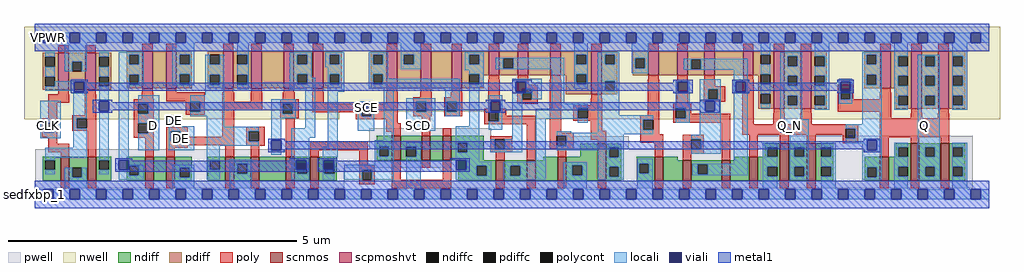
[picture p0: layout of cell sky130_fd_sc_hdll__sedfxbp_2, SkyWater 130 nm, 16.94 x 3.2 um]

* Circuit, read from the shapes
.subckt sky130_fd_sc_hdll__sedfxbp_2 CLK D DE SCD SCE VGND VNB VPB VPWR Q Q_N
XM1 VGND CLK n1 VNB sky130_fd_pr__nfet_01v8 w=0.42 l=0.15
XM2 n2 n1 VGND VNB sky130_fd_pr__nfet_01v8 w=0.42 l=0.15
XM3 n3 D n4 VNB sky130_fd_pr__nfet_01v8 w=0.42 l=0.15
XM4 VGND DE n3 VNB sky130_fd_pr__nfet_01v8 w=0.42 l=0.15
XM5 VGND DE n5 VNB sky130_fd_pr__nfet_01v8 w=0.42 l=0.15
XM6 n6 n5 VGND VNB sky130_fd_pr__nfet_01v8 w=0.42 l=0.15
XM7 n4 n7 n6 VNB sky130_fd_pr__nfet_01v8 w=0.42 l=0.15
XM8 n8 n9 n4 VNB sky130_fd_pr__nfet_01v8 w=0.42 l=0.15
XM9 VGND SCE n9 VNB sky130_fd_pr__nfet_01v8 w=0.42 l=0.15
XM10 n10 SCD VGND VNB sky130_fd_pr__nfet_01v8 w=0.42 l=0.15
XM11 n8 SCE n10 VNB sky130_fd_pr__nfet_01v8 w=0.42 l=0.15
XM12 n11 n1 n8 VNB sky130_fd_pr__nfet_01v8 w=0.36 l=0.15
XM13 n12 n2 n11 VNB sky130_fd_pr__nfet_01v8 w=0.36 l=0.15
XM14 VGND n13 n12 VNB sky130_fd_pr__nfet_01v8 w=0.42 l=0.15
XM15 n13 n11 VGND VNB sky130_fd_pr__nfet_01v8 w=0.64 l=0.15
XM16 n14 n13 VGND VNB sky130_fd_pr__nfet_01v8 w=0.42 l=0.15
XM17 n15 n2 n14 VNB sky130_fd_pr__nfet_01v8 w=0.36 l=0.15
XM18 n16 n1 n15 VNB sky130_fd_pr__nfet_01v8 w=0.36 l=0.15
XM19 VGND n7 n16 VNB sky130_fd_pr__nfet_01v8 w=0.42 l=0.15
XM20 Q_N n7 VGND VNB sky130_fd_pr__nfet_01v8 w=0.65 l=0.15 m=2
XM21 VGND n15 n7 VNB sky130_fd_pr__nfet_01v8 w=0.42 l=0.15
XM22 Q n15 VGND VNB sky130_fd_pr__nfet_01v8 w=0.65 l=0.15 m=2
XM23 VPWR CLK n1 VPB sky130_fd_pr__pfet_01v8_hvt w=0.64 l=0.18
XM24 n2 n1 VPWR VPB sky130_fd_pr__pfet_01v8_hvt w=0.64 l=0.18
XM25 n17 D n4 VPB sky130_fd_pr__pfet_01v8_hvt w=0.64 l=0.18
XM26 VPWR n5 n17 VPB sky130_fd_pr__pfet_01v8_hvt w=0.64 l=0.18
XM27 VPWR DE n5 VPB sky130_fd_pr__pfet_01v8_hvt w=0.64 l=0.18
XM28 n18 DE VPWR VPB sky130_fd_pr__pfet_01v8_hvt w=0.64 l=0.18
XM29 n4 n7 n18 VPB sky130_fd_pr__pfet_01v8_hvt w=0.64 l=0.18
XM30 n8 SCE n4 VPB sky130_fd_pr__pfet_01v8_hvt w=0.64 l=0.18
XM31 VPWR SCE n9 VPB sky130_fd_pr__pfet_01v8_hvt w=0.64 l=0.18
XM32 n19 SCD VPWR VPB sky130_fd_pr__pfet_01v8_hvt w=0.64 l=0.18
XM33 n8 n9 n19 VPB sky130_fd_pr__pfet_01v8_hvt w=0.64 l=0.18
XM34 n11 n2 n8 VPB sky130_fd_pr__pfet_01v8_hvt w=0.42 l=0.18
XM35 n20 n1 n11 VPB sky130_fd_pr__pfet_01v8_hvt w=0.42 l=0.18
XM36 VPWR n13 n20 VPB sky130_fd_pr__pfet_01v8_hvt w=0.42 l=0.18
XM37 n13 n11 VPWR VPB sky130_fd_pr__pfet_01v8_hvt w=0.75 l=0.18
XM38 n21 n13 VPWR VPB sky130_fd_pr__pfet_01v8_hvt w=0.42 l=0.18
XM39 n15 n1 n21 VPB sky130_fd_pr__pfet_01v8_hvt w=0.42 l=0.18
XM40 n22 n2 n15 VPB sky130_fd_pr__pfet_01v8_hvt w=0.42 l=0.18
XM41 VPWR n7 n22 VPB sky130_fd_pr__pfet_01v8_hvt w=0.42 l=0.18
XM42 Q_N n7 VPWR VPB sky130_fd_pr__pfet_01v8_hvt w=1 l=0.18 m=2
XM43 VPWR n15 n7 VPB sky130_fd_pr__pfet_01v8_hvt w=0.64 l=0.18
XM44 Q n15 VPWR VPB sky130_fd_pr__pfet_01v8_hvt w=1 l=0.18 m=2
.ends

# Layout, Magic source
magic
tech sky130A
magscale 1 2
<< nwell >>
rect -38 287 3350 582
rect -38 261 1057 287
rect 1597 261 3350 287
<< pwell >>
rect 1161 157 1584 229
rect 1867 157 2061 201
rect 2508 157 3256 203
rect 1 93 3256 157
rect 1 21 1073 93
rect 1444 21 3256 93
rect 29 -17 63 21
<< scnmos >>
rect 89 47 119 131
rect 183 47 213 131
rect 383 47 413 131
rect 455 47 485 131
rect 661 47 691 131
rect 749 47 779 131
rect 871 47 901 131
rect 955 47 985 131
rect 1239 119 1269 203
rect 1343 119 1373 203
rect 1415 119 1445 203
rect 1600 47 1630 119
rect 1708 47 1738 119
rect 1814 47 1844 131
rect 1953 47 1983 175
rect 2151 47 2181 131
rect 2248 47 2278 119
rect 2384 47 2414 119
rect 2479 47 2509 131
rect 2586 47 2616 177
rect 2680 47 2710 177
rect 2933 47 2963 131
rect 3040 47 3070 177
rect 3144 47 3174 177
<< scpmoshvt >>
rect 81 363 117 491
rect 175 363 211 491
rect 373 369 409 497
rect 455 369 491 497
rect 653 369 689 497
rect 751 369 787 497
rect 863 369 899 497
rect 965 369 1001 497
rect 1221 369 1257 497
rect 1340 369 1376 497
rect 1446 369 1482 497
rect 1575 413 1611 497
rect 1676 413 1712 497
rect 1789 413 1825 497
rect 1931 347 1967 497
rect 2129 413 2165 497
rect 2230 413 2266 497
rect 2324 413 2360 497
rect 2458 413 2494 497
rect 2565 297 2601 497
rect 2659 297 2695 497
rect 2935 369 2971 497
rect 3042 297 3078 497
rect 3136 297 3172 497
<< ndiff >>
rect 27 119 89 131
rect 27 85 35 119
rect 69 85 89 119
rect 27 47 89 85
rect 119 93 183 131
rect 119 59 129 93
rect 163 59 183 93
rect 119 47 183 59
rect 213 119 265 131
rect 213 85 223 119
rect 257 85 265 119
rect 213 47 265 85
rect 319 100 383 131
rect 319 66 327 100
rect 361 66 383 100
rect 319 47 383 66
rect 413 47 455 131
rect 485 93 545 131
rect 485 59 503 93
rect 537 59 545 93
rect 485 47 545 59
rect 599 119 661 131
rect 599 85 607 119
rect 641 85 661 119
rect 599 47 661 85
rect 691 106 749 131
rect 691 72 703 106
rect 737 72 749 106
rect 691 47 749 72
rect 779 47 871 131
rect 901 106 955 131
rect 901 72 911 106
rect 945 72 955 106
rect 901 47 955 72
rect 985 106 1047 131
rect 985 72 1005 106
rect 1039 72 1047 106
rect 985 47 1047 72
rect 1187 167 1239 203
rect 1187 133 1195 167
rect 1229 133 1239 167
rect 1187 119 1239 133
rect 1269 165 1343 203
rect 1269 131 1289 165
rect 1323 131 1343 165
rect 1269 119 1343 131
rect 1373 119 1415 203
rect 1445 180 1558 203
rect 1445 146 1467 180
rect 1501 146 1558 180
rect 1445 119 1558 146
rect 1893 131 1953 175
rect 1764 119 1814 131
rect 1470 99 1600 119
rect 1470 65 1534 99
rect 1568 65 1600 99
rect 1470 47 1600 65
rect 1630 99 1708 119
rect 1630 65 1650 99
rect 1684 65 1708 99
rect 1630 47 1708 65
rect 1738 47 1814 119
rect 1844 101 1953 131
rect 1844 67 1865 101
rect 1899 67 1953 101
rect 1844 47 1953 67
rect 1983 163 2035 175
rect 1983 129 1993 163
rect 2027 129 2035 163
rect 1983 95 2035 129
rect 1983 61 1993 95
rect 2027 61 2035 95
rect 1983 47 2035 61
rect 2089 107 2151 131
rect 2089 73 2097 107
rect 2131 73 2151 107
rect 2089 47 2151 73
rect 2181 119 2231 131
rect 2534 164 2586 177
rect 2534 131 2542 164
rect 2429 119 2479 131
rect 2181 47 2248 119
rect 2278 104 2384 119
rect 2278 70 2301 104
rect 2335 70 2384 104
rect 2278 47 2384 70
rect 2414 47 2479 119
rect 2509 130 2542 131
rect 2576 130 2586 164
rect 2509 96 2586 130
rect 2509 62 2542 96
rect 2576 62 2586 96
rect 2509 47 2586 62
rect 2616 164 2680 177
rect 2616 130 2636 164
rect 2670 130 2680 164
rect 2616 96 2680 130
rect 2616 62 2636 96
rect 2670 62 2680 96
rect 2616 47 2680 62
rect 2710 164 2772 177
rect 2710 130 2730 164
rect 2764 130 2772 164
rect 2988 164 3040 177
rect 2988 131 2996 164
rect 2710 96 2772 130
rect 2710 62 2730 96
rect 2764 62 2772 96
rect 2710 47 2772 62
rect 2881 94 2933 131
rect 2881 60 2889 94
rect 2923 60 2933 94
rect 2881 47 2933 60
rect 2963 130 2996 131
rect 3030 130 3040 164
rect 2963 96 3040 130
rect 2963 62 2996 96
rect 3030 62 3040 96
rect 2963 47 3040 62
rect 3070 164 3144 177
rect 3070 130 3090 164
rect 3124 130 3144 164
rect 3070 96 3144 130
rect 3070 62 3090 96
rect 3124 62 3144 96
rect 3070 47 3144 62
rect 3174 164 3230 177
rect 3174 130 3186 164
rect 3220 130 3230 164
rect 3174 96 3230 130
rect 3174 62 3186 96
rect 3220 62 3230 96
rect 3174 47 3230 62
<< pdiff >>
rect 27 477 81 491
rect 27 443 35 477
rect 69 443 81 477
rect 27 409 81 443
rect 27 375 35 409
rect 69 375 81 409
rect 27 363 81 375
rect 117 461 175 491
rect 117 427 129 461
rect 163 427 175 461
rect 117 363 175 427
rect 211 477 265 491
rect 211 443 223 477
rect 257 443 265 477
rect 211 409 265 443
rect 211 375 223 409
rect 257 375 265 409
rect 211 363 265 375
rect 319 485 373 497
rect 319 451 327 485
rect 361 451 373 485
rect 319 415 373 451
rect 319 381 327 415
rect 361 381 373 415
rect 319 369 373 381
rect 409 369 455 497
rect 491 485 545 497
rect 491 451 503 485
rect 537 451 545 485
rect 491 417 545 451
rect 491 383 503 417
rect 537 383 545 417
rect 491 369 545 383
rect 599 485 653 497
rect 599 451 607 485
rect 641 451 653 485
rect 599 415 653 451
rect 599 381 607 415
rect 641 381 653 415
rect 599 369 653 381
rect 689 485 751 497
rect 689 451 703 485
rect 737 451 751 485
rect 689 415 751 451
rect 689 381 703 415
rect 737 381 751 415
rect 689 369 751 381
rect 787 369 863 497
rect 899 485 965 497
rect 899 451 911 485
rect 945 451 965 485
rect 899 417 965 451
rect 899 383 911 417
rect 945 383 965 417
rect 899 369 965 383
rect 1001 485 1065 497
rect 1001 451 1023 485
rect 1057 451 1065 485
rect 1001 417 1065 451
rect 1001 383 1023 417
rect 1057 383 1065 417
rect 1001 369 1065 383
rect 1166 485 1221 497
rect 1166 451 1174 485
rect 1208 451 1221 485
rect 1166 417 1221 451
rect 1166 383 1174 417
rect 1208 383 1221 417
rect 1166 369 1221 383
rect 1257 485 1340 497
rect 1257 451 1281 485
rect 1315 451 1340 485
rect 1257 369 1340 451
rect 1376 369 1446 497
rect 1482 485 1575 497
rect 1482 451 1508 485
rect 1542 451 1575 485
rect 1482 417 1575 451
rect 1482 383 1508 417
rect 1542 413 1575 417
rect 1611 472 1676 497
rect 1611 438 1626 472
rect 1660 438 1676 472
rect 1611 413 1676 438
rect 1712 413 1789 497
rect 1825 485 1931 497
rect 1825 451 1879 485
rect 1913 451 1931 485
rect 1825 417 1931 451
rect 1825 413 1879 417
rect 1542 383 1558 413
rect 1482 369 1558 383
rect 1842 383 1879 413
rect 1913 383 1931 417
rect 1842 347 1931 383
rect 1967 485 2021 497
rect 1967 451 1979 485
rect 2013 451 2021 485
rect 1967 393 2021 451
rect 2075 472 2129 497
rect 2075 438 2083 472
rect 2117 438 2129 472
rect 2075 413 2129 438
rect 2165 413 2230 497
rect 2266 469 2324 497
rect 2266 435 2278 469
rect 2312 435 2324 469
rect 2266 413 2324 435
rect 2360 413 2458 497
rect 2494 485 2565 497
rect 2494 451 2519 485
rect 2553 451 2565 485
rect 2494 417 2565 451
rect 2494 413 2519 417
rect 1967 359 1979 393
rect 2013 359 2021 393
rect 1967 347 2021 359
rect 2511 383 2519 413
rect 2553 383 2565 417
rect 2511 349 2565 383
rect 2511 315 2519 349
rect 2553 315 2565 349
rect 2511 297 2565 315
rect 2601 479 2659 497
rect 2601 445 2613 479
rect 2647 445 2659 479
rect 2601 411 2659 445
rect 2601 377 2613 411
rect 2647 377 2659 411
rect 2601 343 2659 377
rect 2601 309 2613 343
rect 2647 309 2659 343
rect 2601 297 2659 309
rect 2695 479 2749 497
rect 2695 445 2707 479
rect 2741 445 2749 479
rect 2695 411 2749 445
rect 2695 377 2707 411
rect 2741 377 2749 411
rect 2879 485 2935 497
rect 2879 451 2887 485
rect 2921 451 2935 485
rect 2879 415 2935 451
rect 2879 381 2887 415
rect 2921 381 2935 415
rect 2695 343 2749 377
rect 2695 309 2707 343
rect 2741 309 2749 343
rect 2695 297 2749 309
rect 2879 369 2935 381
rect 2971 479 3042 497
rect 2971 445 2996 479
rect 3030 445 3042 479
rect 2971 411 3042 445
rect 2971 377 2996 411
rect 3030 377 3042 411
rect 2971 369 3042 377
rect 2988 343 3042 369
rect 2988 309 2996 343
rect 3030 309 3042 343
rect 2988 297 3042 309
rect 3078 479 3136 497
rect 3078 445 3090 479
rect 3124 445 3136 479
rect 3078 411 3136 445
rect 3078 377 3090 411
rect 3124 377 3136 411
rect 3078 343 3136 377
rect 3078 309 3090 343
rect 3124 309 3136 343
rect 3078 297 3136 309
rect 3172 479 3230 497
rect 3172 445 3186 479
rect 3220 445 3230 479
rect 3172 411 3230 445
rect 3172 377 3186 411
rect 3220 377 3230 411
rect 3172 343 3230 377
rect 3172 309 3186 343
rect 3220 309 3230 343
rect 3172 297 3230 309
<< ndiffc >>
rect 35 85 69 119
rect 129 59 163 93
rect 223 85 257 119
rect 327 66 361 100
rect 503 59 537 93
rect 607 85 641 119
rect 703 72 737 106
rect 911 72 945 106
rect 1005 72 1039 106
rect 1195 133 1229 167
rect 1289 131 1323 165
rect 1467 146 1501 180
rect 1534 65 1568 99
rect 1650 65 1684 99
rect 1865 67 1899 101
rect 1993 129 2027 163
rect 1993 61 2027 95
rect 2097 73 2131 107
rect 2301 70 2335 104
rect 2542 130 2576 164
rect 2542 62 2576 96
rect 2636 130 2670 164
rect 2636 62 2670 96
rect 2730 130 2764 164
rect 2730 62 2764 96
rect 2889 60 2923 94
rect 2996 130 3030 164
rect 2996 62 3030 96
rect 3090 130 3124 164
rect 3090 62 3124 96
rect 3186 130 3220 164
rect 3186 62 3220 96
<< pdiffc >>
rect 35 443 69 477
rect 35 375 69 409
rect 129 427 163 461
rect 223 443 257 477
rect 223 375 257 409
rect 327 451 361 485
rect 327 381 361 415
rect 503 451 537 485
rect 503 383 537 417
rect 607 451 641 485
rect 607 381 641 415
rect 703 451 737 485
rect 703 381 737 415
rect 911 451 945 485
rect 911 383 945 417
rect 1023 451 1057 485
rect 1023 383 1057 417
rect 1174 451 1208 485
rect 1174 383 1208 417
rect 1281 451 1315 485
rect 1508 451 1542 485
rect 1508 383 1542 417
rect 1626 438 1660 472
rect 1879 451 1913 485
rect 1879 383 1913 417
rect 1979 451 2013 485
rect 2083 438 2117 472
rect 2278 435 2312 469
rect 2519 451 2553 485
rect 1979 359 2013 393
rect 2519 383 2553 417
rect 2519 315 2553 349
rect 2613 445 2647 479
rect 2613 377 2647 411
rect 2613 309 2647 343
rect 2707 445 2741 479
rect 2707 377 2741 411
rect 2887 451 2921 485
rect 2887 381 2921 415
rect 2707 309 2741 343
rect 2996 445 3030 479
rect 2996 377 3030 411
rect 2996 309 3030 343
rect 3090 445 3124 479
rect 3090 377 3124 411
rect 3090 309 3124 343
rect 3186 445 3220 479
rect 3186 377 3220 411
rect 3186 309 3220 343
<< poly >>
rect 81 491 117 517
rect 175 491 211 517
rect 373 497 409 523
rect 455 497 491 523
rect 653 497 689 523
rect 751 497 787 523
rect 863 497 899 523
rect 965 497 1001 523
rect 1221 497 1257 523
rect 1340 497 1376 523
rect 1446 497 1482 523
rect 1575 497 1611 523
rect 1676 497 1712 523
rect 1789 497 1825 523
rect 1931 497 1967 523
rect 2129 497 2165 523
rect 2230 497 2266 523
rect 2324 497 2360 523
rect 2458 497 2494 523
rect 2565 497 2601 523
rect 2659 497 2695 523
rect 2935 497 2971 523
rect 3042 497 3078 523
rect 3136 497 3172 523
rect 1575 398 1611 413
rect 1676 398 1712 413
rect 1789 398 1825 413
rect 81 348 117 363
rect 175 348 211 363
rect 373 354 409 369
rect 455 354 491 369
rect 653 354 689 369
rect 751 354 787 369
rect 863 354 899 369
rect 965 354 1001 369
rect 1221 354 1257 369
rect 1340 354 1376 369
rect 1446 354 1482 369
rect 47 318 119 348
rect 47 265 77 318
rect 173 274 213 348
rect 371 330 411 354
rect 23 249 77 265
rect 23 215 33 249
rect 67 215 77 249
rect 129 264 213 274
rect 129 230 145 264
rect 179 230 213 264
rect 129 220 213 230
rect 23 199 77 215
rect 47 176 77 199
rect 47 146 119 176
rect 89 131 119 146
rect 183 131 213 220
rect 343 314 413 330
rect 455 324 589 354
rect 343 280 359 314
rect 393 280 413 314
rect 343 246 413 280
rect 523 321 589 324
rect 523 287 539 321
rect 573 287 589 321
rect 523 277 589 287
rect 651 322 691 354
rect 749 322 789 354
rect 861 330 901 354
rect 651 292 789 322
rect 851 314 915 330
rect 343 212 359 246
rect 393 212 413 246
rect 343 196 413 212
rect 383 131 413 196
rect 455 219 531 235
rect 455 185 471 219
rect 505 200 531 219
rect 651 200 691 292
rect 851 280 861 314
rect 895 280 915 314
rect 963 315 1003 354
rect 1219 315 1259 354
rect 1338 337 1378 354
rect 1444 337 1484 354
rect 963 305 1259 315
rect 963 285 1134 305
rect 851 264 915 280
rect 1114 271 1134 285
rect 1168 271 1259 305
rect 1314 321 1378 337
rect 1314 287 1324 321
rect 1358 287 1378 321
rect 1314 271 1378 287
rect 1420 321 1484 337
rect 1420 287 1430 321
rect 1464 287 1484 321
rect 1573 297 1613 398
rect 1674 381 1714 398
rect 1674 365 1745 381
rect 1674 331 1691 365
rect 1725 331 1745 365
rect 1674 315 1745 331
rect 1420 271 1484 287
rect 1560 287 1636 297
rect 505 185 691 200
rect 455 170 691 185
rect 455 162 531 170
rect 455 131 485 162
rect 661 131 691 170
rect 733 219 797 235
rect 733 185 743 219
rect 777 185 797 219
rect 733 169 797 185
rect 749 131 779 169
rect 871 131 901 264
rect 1114 261 1259 271
rect 1219 247 1259 261
rect 1219 218 1269 247
rect 1239 203 1269 218
rect 1343 203 1373 271
rect 1560 253 1576 287
rect 1610 273 1636 287
rect 1610 253 1738 273
rect 1560 243 1738 253
rect 1415 203 1445 229
rect 955 153 1156 183
rect 955 131 985 153
rect 1126 101 1156 153
rect 1580 191 1656 201
rect 1580 157 1596 191
rect 1630 157 1656 191
rect 1580 147 1656 157
rect 1600 119 1630 147
rect 1708 119 1738 243
rect 1787 213 1827 398
rect 2129 398 2165 413
rect 2230 398 2266 413
rect 2324 398 2360 413
rect 2458 398 2494 413
rect 1931 332 1967 347
rect 1929 309 1969 332
rect 1869 299 1969 309
rect 1869 265 1885 299
rect 1919 265 1969 299
rect 2127 275 2167 398
rect 2228 315 2268 398
rect 2322 375 2362 398
rect 2321 365 2397 375
rect 2321 331 2337 365
rect 2371 331 2397 365
rect 2321 321 2397 331
rect 1869 255 1969 265
rect 1929 220 1969 255
rect 2102 259 2167 275
rect 2102 225 2112 259
rect 2146 225 2167 259
rect 2215 299 2279 315
rect 2215 265 2225 299
rect 2259 279 2279 299
rect 2259 265 2414 279
rect 2215 249 2414 265
rect 1787 203 1871 213
rect 1787 169 1811 203
rect 1845 169 1871 203
rect 1929 190 1983 220
rect 1953 175 1983 190
rect 2102 209 2167 225
rect 2102 179 2181 209
rect 1787 159 1871 169
rect 1814 131 1844 159
rect 1126 85 1180 101
rect 1126 51 1136 85
rect 1170 51 1180 85
rect 89 21 119 47
rect 183 21 213 47
rect 383 21 413 47
rect 455 21 485 47
rect 661 21 691 47
rect 749 21 779 47
rect 871 21 901 47
rect 955 21 985 47
rect 1126 35 1180 51
rect 1239 51 1269 119
rect 1343 93 1373 119
rect 1415 51 1445 119
rect 1239 21 1445 51
rect 2151 131 2181 179
rect 2248 191 2322 207
rect 2248 157 2278 191
rect 2312 157 2322 191
rect 2248 141 2322 157
rect 2248 119 2278 141
rect 2384 119 2414 249
rect 2456 244 2496 398
rect 2787 365 2841 381
rect 2787 331 2797 365
rect 2831 331 2841 365
rect 2935 354 2971 369
rect 2933 331 2973 354
rect 2565 282 2601 297
rect 2659 282 2695 297
rect 2787 286 2973 331
rect 2563 244 2603 282
rect 2657 244 2697 282
rect 2933 265 2973 286
rect 3042 282 3078 297
rect 3136 282 3172 297
rect 3040 265 3080 282
rect 3134 265 3174 282
rect 2456 228 2858 244
rect 2456 207 2814 228
rect 2479 131 2509 207
rect 2586 177 2616 207
rect 2680 177 2710 207
rect 2804 194 2814 207
rect 2848 194 2858 228
rect 2804 178 2858 194
rect 2933 199 3174 265
rect 2933 131 2963 199
rect 3040 177 3070 199
rect 3144 177 3174 199
rect 1600 21 1630 47
rect 1708 21 1738 47
rect 1814 21 1844 47
rect 1953 21 1983 47
rect 2151 21 2181 47
rect 2248 21 2278 47
rect 2384 21 2414 47
rect 2479 21 2509 47
rect 2586 21 2616 47
rect 2680 21 2710 47
rect 2933 21 2963 47
rect 3040 21 3070 47
rect 3144 21 3174 47
<< polycont >>
rect 33 215 67 249
rect 145 230 179 264
rect 359 280 393 314
rect 539 287 573 321
rect 359 212 393 246
rect 471 185 505 219
rect 861 280 895 314
rect 1134 271 1168 305
rect 1324 287 1358 321
rect 1430 287 1464 321
rect 1691 331 1725 365
rect 743 185 777 219
rect 1576 253 1610 287
rect 1596 157 1630 191
rect 1885 265 1919 299
rect 2337 331 2371 365
rect 2112 225 2146 259
rect 2225 265 2259 299
rect 1811 169 1845 203
rect 1136 51 1170 85
rect 2278 157 2312 191
rect 2797 331 2831 365
rect 2814 194 2848 228
<< locali >>
rect 0 527 29 561
rect 63 527 121 561
rect 155 527 213 561
rect 247 527 305 561
rect 339 527 397 561
rect 431 527 489 561
rect 523 527 581 561
rect 615 527 673 561
rect 707 527 765 561
rect 799 527 857 561
rect 891 527 949 561
rect 983 527 1041 561
rect 1075 527 1133 561
rect 1167 527 1225 561
rect 1259 527 1317 561
rect 1351 527 1409 561
rect 1443 527 1501 561
rect 1535 527 1593 561
rect 1627 527 1685 561
rect 1719 527 1777 561
rect 1811 527 1869 561
rect 1903 527 1961 561
rect 1995 527 2053 561
rect 2087 527 2145 561
rect 2179 527 2237 561
rect 2271 527 2329 561
rect 2363 527 2421 561
rect 2455 527 2513 561
rect 2547 527 2605 561
rect 2639 527 2697 561
rect 2731 527 2789 561
rect 2823 527 2881 561
rect 2915 527 2973 561
rect 3007 527 3065 561
rect 3099 527 3157 561
rect 3191 527 3249 561
rect 3283 527 3312 561
rect 35 477 69 493
rect 35 409 69 443
rect 103 461 179 527
rect 103 427 129 461
rect 163 427 179 461
rect 223 477 257 493
rect 223 409 257 443
rect 69 391 179 393
rect 69 375 137 391
rect 35 359 137 375
rect 133 357 137 359
rect 171 357 179 391
rect 19 249 89 325
rect 19 215 33 249
rect 67 215 89 249
rect 19 195 89 215
rect 133 264 179 357
rect 133 230 145 264
rect 133 161 179 230
rect 35 127 179 161
rect 223 323 257 375
rect 35 119 69 127
rect 223 119 257 289
rect 35 69 69 85
rect 103 59 129 93
rect 163 59 179 93
rect 223 69 257 85
rect 291 485 377 493
rect 291 451 327 485
rect 361 451 377 485
rect 291 415 377 451
rect 291 381 327 415
rect 361 381 377 415
rect 291 378 377 381
rect 477 485 553 527
rect 703 485 742 527
rect 477 451 503 485
rect 537 451 553 485
rect 477 417 553 451
rect 477 383 503 417
rect 537 383 553 417
rect 477 378 553 383
rect 591 451 607 485
rect 641 451 657 485
rect 591 415 657 451
rect 591 381 607 415
rect 641 381 657 415
rect 291 119 325 378
rect 591 344 657 381
rect 737 451 742 485
rect 703 415 742 451
rect 737 381 742 415
rect 703 365 742 381
rect 885 485 961 493
rect 885 451 911 485
rect 945 451 961 485
rect 885 417 961 451
rect 1007 485 1073 493
rect 1007 451 1023 485
rect 1057 451 1073 485
rect 1007 442 1073 451
rect 885 383 911 417
rect 945 404 961 417
rect 1017 417 1073 442
rect 945 383 973 404
rect 885 364 973 383
rect 359 314 431 344
rect 393 280 431 314
rect 359 246 431 280
rect 539 321 657 344
rect 573 287 657 321
rect 393 212 431 246
rect 359 153 431 212
rect 465 237 505 274
rect 539 271 657 287
rect 465 219 553 237
rect 465 185 471 219
rect 505 185 553 219
rect 465 153 553 185
rect 596 235 657 271
rect 821 314 905 330
rect 821 280 861 314
rect 895 280 905 314
rect 821 264 905 280
rect 596 219 777 235
rect 596 185 743 219
rect 596 169 777 185
rect 821 187 855 264
rect 939 230 973 364
rect 596 119 641 169
rect 821 137 855 153
rect 889 196 973 230
rect 1017 383 1023 417
rect 1057 383 1073 417
rect 1017 357 1073 383
rect 1158 485 1226 493
rect 1158 451 1174 485
rect 1208 451 1226 485
rect 1158 417 1226 451
rect 1270 485 1339 527
rect 1270 451 1281 485
rect 1315 451 1339 485
rect 1270 435 1339 451
rect 1492 485 1558 493
rect 1492 451 1508 485
rect 1542 451 1558 485
rect 1872 485 1919 527
rect 1492 430 1558 451
rect 1600 472 1838 475
rect 1600 438 1626 472
rect 1660 438 1838 472
rect 1600 435 1838 438
rect 1158 383 1174 417
rect 1208 401 1226 417
rect 1508 417 1558 430
rect 1208 383 1474 401
rect 1158 367 1474 383
rect 325 100 377 103
rect 325 85 327 100
rect 103 17 179 59
rect 291 66 327 85
rect 361 66 377 100
rect 291 51 377 66
rect 477 93 553 103
rect 477 59 503 93
rect 537 59 553 93
rect 477 17 553 59
rect 596 85 607 119
rect 596 51 641 85
rect 677 106 753 122
rect 677 72 703 106
rect 737 72 753 106
rect 677 17 753 72
rect 889 119 953 196
rect 1017 165 1051 357
rect 1121 305 1177 323
rect 1121 271 1134 305
rect 1168 271 1177 305
rect 1121 221 1177 271
rect 1211 187 1245 367
rect 1289 321 1390 333
rect 1289 287 1324 321
rect 1358 287 1390 321
rect 1289 221 1390 287
rect 1424 321 1474 367
rect 1424 287 1430 321
rect 1464 287 1474 321
rect 1424 271 1474 287
rect 1542 383 1558 417
rect 1508 373 1558 383
rect 1657 391 1760 401
rect 1508 237 1542 373
rect 1657 357 1669 391
rect 1703 365 1760 391
rect 889 85 907 119
rect 941 106 953 119
rect 889 72 911 85
rect 945 72 953 106
rect 889 51 953 72
rect 999 129 1051 165
rect 1179 167 1245 187
rect 1179 133 1195 167
rect 1229 133 1245 167
rect 999 119 1039 129
rect 999 85 1003 119
rect 1037 106 1039 119
rect 1179 103 1245 133
rect 999 72 1005 85
rect 999 51 1039 72
rect 1073 85 1245 103
rect 1073 51 1136 85
rect 1170 51 1245 85
rect 1289 165 1339 181
rect 1323 131 1339 165
rect 1289 17 1339 131
rect 1460 180 1542 237
rect 1576 323 1623 344
rect 1576 289 1582 323
rect 1616 289 1623 323
rect 1576 287 1623 289
rect 1610 253 1623 287
rect 1576 225 1623 253
rect 1657 191 1691 357
rect 1725 331 1760 365
rect 1794 315 1838 435
rect 1872 451 1879 485
rect 1913 451 1919 485
rect 1872 417 1919 451
rect 1872 383 1879 417
rect 1913 383 1919 417
rect 1872 367 1919 383
rect 1953 485 2029 493
rect 1953 451 1979 485
rect 2013 451 2029 485
rect 1953 393 2029 451
rect 2071 472 2129 527
rect 2071 438 2083 472
rect 2117 438 2129 472
rect 2519 485 2553 527
rect 2071 421 2129 438
rect 2252 469 2475 471
rect 2252 435 2278 469
rect 2312 435 2475 469
rect 2252 433 2475 435
rect 1953 359 1979 393
rect 2013 359 2029 393
rect 1794 299 1919 315
rect 1794 297 1885 299
rect 1460 146 1467 180
rect 1501 146 1542 180
rect 1580 157 1596 191
rect 1630 157 1691 191
rect 1580 147 1691 157
rect 1739 265 1885 297
rect 1739 263 1919 265
rect 1460 119 1542 146
rect 1460 85 1463 119
rect 1497 113 1542 119
rect 1739 113 1773 263
rect 1885 249 1919 263
rect 1953 275 2029 359
rect 2225 391 2273 393
rect 2225 357 2232 391
rect 2266 357 2273 391
rect 2225 299 2273 357
rect 1953 259 2146 275
rect 1953 225 2112 259
rect 2259 265 2273 299
rect 2225 249 2273 265
rect 2307 365 2381 399
rect 2307 331 2337 365
rect 2371 331 2381 365
rect 2307 323 2381 331
rect 2307 289 2326 323
rect 2360 289 2381 323
rect 1811 213 1861 219
rect 1953 213 2146 225
rect 1811 209 2146 213
rect 1811 203 2044 209
rect 2307 207 2381 289
rect 1845 169 2044 203
rect 1811 163 2044 169
rect 1811 153 1993 163
rect 1497 99 1584 113
rect 1497 85 1534 99
rect 1460 65 1534 85
rect 1568 65 1584 99
rect 1460 51 1584 65
rect 1628 99 1773 113
rect 1953 129 1993 153
rect 2027 129 2044 163
rect 2278 191 2381 207
rect 2312 157 2381 191
rect 2278 141 2381 157
rect 2425 391 2475 433
rect 2425 357 2433 391
rect 2467 357 2475 391
rect 1628 65 1650 99
rect 1684 65 1773 99
rect 1628 51 1773 65
rect 1836 101 1915 112
rect 1836 67 1865 101
rect 1899 67 1915 101
rect 1836 17 1915 67
rect 1953 95 2044 129
rect 1953 61 1993 95
rect 2027 61 2044 95
rect 1953 51 2044 61
rect 2090 107 2145 123
rect 2425 107 2475 357
rect 2519 417 2553 451
rect 2519 349 2553 383
rect 2519 299 2553 315
rect 2587 479 2663 493
rect 2587 445 2613 479
rect 2647 445 2663 479
rect 2587 411 2663 445
rect 2587 377 2613 411
rect 2647 377 2663 411
rect 2587 343 2663 377
rect 2587 309 2613 343
rect 2647 309 2663 343
rect 2587 260 2663 309
rect 2707 479 2757 527
rect 2741 445 2757 479
rect 2707 411 2757 445
rect 2741 377 2757 411
rect 2871 485 2939 493
rect 2871 451 2887 485
rect 2921 451 2939 485
rect 2871 415 2939 451
rect 2707 343 2757 377
rect 2741 309 2757 343
rect 2791 391 2837 402
rect 2791 331 2797 391
rect 2831 331 2837 391
rect 2791 315 2837 331
rect 2871 381 2887 415
rect 2921 381 2939 415
rect 2707 293 2757 309
rect 2587 213 2686 260
rect 2871 244 2939 381
rect 2983 479 3030 527
rect 2983 445 2996 479
rect 2983 411 3030 445
rect 2983 377 2996 411
rect 2983 343 3030 377
rect 2983 309 2996 343
rect 2983 293 3030 309
rect 3064 479 3140 484
rect 3064 445 3090 479
rect 3124 445 3140 479
rect 3064 411 3140 445
rect 3064 377 3090 411
rect 3124 377 3140 411
rect 3064 343 3140 377
rect 3064 309 3090 343
rect 3124 309 3140 343
rect 2090 73 2097 107
rect 2131 73 2145 107
rect 2090 17 2145 73
rect 2282 104 2475 107
rect 2282 70 2301 104
rect 2335 70 2475 104
rect 2282 66 2475 70
rect 2526 164 2576 180
rect 2526 130 2542 164
rect 2526 96 2576 130
rect 2526 62 2542 96
rect 2526 17 2576 62
rect 2620 164 2686 213
rect 2814 228 2939 244
rect 2848 194 2939 228
rect 2814 187 2939 194
rect 2620 130 2636 164
rect 2670 130 2686 164
rect 2620 96 2686 130
rect 2620 62 2636 96
rect 2670 62 2686 96
rect 2620 51 2686 62
rect 2730 164 2780 180
rect 2814 178 2889 187
rect 2764 130 2780 164
rect 2730 96 2780 130
rect 2764 62 2780 96
rect 2730 17 2780 62
rect 2871 153 2889 178
rect 2923 153 2939 187
rect 2871 94 2939 153
rect 2871 60 2889 94
rect 2923 60 2939 94
rect 2871 51 2939 60
rect 2983 164 3030 180
rect 2983 130 2996 164
rect 2983 96 3030 130
rect 2983 62 2996 96
rect 2983 17 3030 62
rect 3064 164 3140 309
rect 3184 479 3236 527
rect 3184 445 3186 479
rect 3220 445 3236 479
rect 3184 411 3236 445
rect 3184 377 3186 411
rect 3220 377 3236 411
rect 3184 343 3236 377
rect 3184 309 3186 343
rect 3220 309 3236 343
rect 3184 293 3236 309
rect 3064 130 3090 164
rect 3124 130 3140 164
rect 3064 96 3140 130
rect 3064 62 3090 96
rect 3124 62 3140 96
rect 3064 51 3140 62
rect 3184 164 3236 180
rect 3184 130 3186 164
rect 3220 130 3236 164
rect 3184 96 3236 130
rect 3184 62 3186 96
rect 3220 62 3236 96
rect 3184 17 3236 62
rect 0 -17 29 17
rect 63 -17 121 17
rect 155 -17 213 17
rect 247 -17 305 17
rect 339 -17 397 17
rect 431 -17 489 17
rect 523 -17 581 17
rect 615 -17 673 17
rect 707 -17 765 17
rect 799 -17 857 17
rect 891 -17 949 17
rect 983 -17 1041 17
rect 1075 -17 1133 17
rect 1167 -17 1225 17
rect 1259 -17 1317 17
rect 1351 -17 1409 17
rect 1443 -17 1501 17
rect 1535 -17 1593 17
rect 1627 -17 1685 17
rect 1719 -17 1777 17
rect 1811 -17 1869 17
rect 1903 -17 1961 17
rect 1995 -17 2053 17
rect 2087 -17 2145 17
rect 2179 -17 2237 17
rect 2271 -17 2329 17
rect 2363 -17 2421 17
rect 2455 -17 2513 17
rect 2547 -17 2605 17
rect 2639 -17 2697 17
rect 2731 -17 2789 17
rect 2823 -17 2881 17
rect 2915 -17 2973 17
rect 3007 -17 3065 17
rect 3099 -17 3157 17
rect 3191 -17 3249 17
rect 3283 -17 3312 17
<< viali >>
rect 29 527 63 561
rect 121 527 155 561
rect 213 527 247 561
rect 305 527 339 561
rect 397 527 431 561
rect 489 527 523 561
rect 581 527 615 561
rect 673 527 707 561
rect 765 527 799 561
rect 857 527 891 561
rect 949 527 983 561
rect 1041 527 1075 561
rect 1133 527 1167 561
rect 1225 527 1259 561
rect 1317 527 1351 561
rect 1409 527 1443 561
rect 1501 527 1535 561
rect 1593 527 1627 561
rect 1685 527 1719 561
rect 1777 527 1811 561
rect 1869 527 1903 561
rect 1961 527 1995 561
rect 2053 527 2087 561
rect 2145 527 2179 561
rect 2237 527 2271 561
rect 2329 527 2363 561
rect 2421 527 2455 561
rect 2513 527 2547 561
rect 2605 527 2639 561
rect 2697 527 2731 561
rect 2789 527 2823 561
rect 2881 527 2915 561
rect 2973 527 3007 561
rect 3065 527 3099 561
rect 3157 527 3191 561
rect 3249 527 3283 561
rect 137 357 171 391
rect 223 289 257 323
rect 291 85 325 119
rect 821 153 855 187
rect 1669 365 1703 391
rect 1669 357 1691 365
rect 1691 357 1703 365
rect 907 106 941 119
rect 907 85 911 106
rect 911 85 941 106
rect 1003 106 1037 119
rect 1003 85 1005 106
rect 1005 85 1037 106
rect 1582 289 1616 323
rect 1463 85 1497 119
rect 2232 357 2266 391
rect 2326 289 2360 323
rect 2433 357 2467 391
rect 2797 365 2831 391
rect 2797 357 2831 365
rect 2889 153 2923 187
rect 29 -17 63 17
rect 121 -17 155 17
rect 213 -17 247 17
rect 305 -17 339 17
rect 397 -17 431 17
rect 489 -17 523 17
rect 581 -17 615 17
rect 673 -17 707 17
rect 765 -17 799 17
rect 857 -17 891 17
rect 949 -17 983 17
rect 1041 -17 1075 17
rect 1133 -17 1167 17
rect 1225 -17 1259 17
rect 1317 -17 1351 17
rect 1409 -17 1443 17
rect 1501 -17 1535 17
rect 1593 -17 1627 17
rect 1685 -17 1719 17
rect 1777 -17 1811 17
rect 1869 -17 1903 17
rect 1961 -17 1995 17
rect 2053 -17 2087 17
rect 2145 -17 2179 17
rect 2237 -17 2271 17
rect 2329 -17 2363 17
rect 2421 -17 2455 17
rect 2513 -17 2547 17
rect 2605 -17 2639 17
rect 2697 -17 2731 17
rect 2789 -17 2823 17
rect 2881 -17 2915 17
rect 2973 -17 3007 17
rect 3065 -17 3099 17
rect 3157 -17 3191 17
rect 3249 -17 3283 17
<< metal1 >>
rect 0 561 3312 592
rect 0 527 29 561
rect 63 527 121 561
rect 155 527 213 561
rect 247 527 305 561
rect 339 527 397 561
rect 431 527 489 561
rect 523 527 581 561
rect 615 527 673 561
rect 707 527 765 561
rect 799 527 857 561
rect 891 527 949 561
rect 983 527 1041 561
rect 1075 527 1133 561
rect 1167 527 1225 561
rect 1259 527 1317 561
rect 1351 527 1409 561
rect 1443 527 1501 561
rect 1535 527 1593 561
rect 1627 527 1685 561
rect 1719 527 1777 561
rect 1811 527 1869 561
rect 1903 527 1961 561
rect 1995 527 2053 561
rect 2087 527 2145 561
rect 2179 527 2237 561
rect 2271 527 2329 561
rect 2363 527 2421 561
rect 2455 527 2513 561
rect 2547 527 2605 561
rect 2639 527 2697 561
rect 2731 527 2789 561
rect 2823 527 2881 561
rect 2915 527 2973 561
rect 3007 527 3065 561
rect 3099 527 3157 561
rect 3191 527 3249 561
rect 3283 527 3312 561
rect 0 496 3312 527
rect 125 391 183 397
rect 125 357 137 391
rect 171 388 183 391
rect 1657 391 1725 397
rect 1657 388 1669 391
rect 171 360 1669 388
rect 171 357 183 360
rect 125 351 183 357
rect 1657 357 1669 360
rect 1703 388 1725 391
rect 2215 391 2283 397
rect 2215 388 2232 391
rect 1703 360 2232 388
rect 1703 357 1725 360
rect 1657 351 1725 357
rect 2215 357 2232 360
rect 2266 357 2283 391
rect 2215 351 2283 357
rect 2421 391 2479 397
rect 2421 357 2433 391
rect 2467 388 2479 391
rect 2785 391 2843 397
rect 2785 388 2797 391
rect 2467 360 2797 388
rect 2467 357 2479 360
rect 2421 351 2479 357
rect 2785 357 2797 360
rect 2831 357 2843 391
rect 2785 351 2843 357
rect 201 323 269 329
rect 201 289 223 323
rect 257 320 269 323
rect 1565 323 1633 329
rect 1565 320 1582 323
rect 257 292 1582 320
rect 257 289 269 292
rect 201 283 269 289
rect 1565 289 1582 292
rect 1616 320 1633 323
rect 2309 323 2377 329
rect 2309 320 2326 323
rect 1616 292 2326 320
rect 1616 289 1633 292
rect 1565 283 1633 289
rect 2309 289 2326 292
rect 2360 289 2377 323
rect 2309 283 2377 289
rect 809 187 867 193
rect 809 153 821 187
rect 855 184 867 187
rect 2877 187 2935 193
rect 2877 184 2889 187
rect 855 156 2889 184
rect 855 153 867 156
rect 809 147 867 153
rect 2877 153 2889 156
rect 2923 153 2935 187
rect 2877 147 2935 153
rect 279 119 337 125
rect 279 85 291 119
rect 325 116 337 119
rect 885 119 953 125
rect 885 116 907 119
rect 325 85 907 116
rect 941 85 953 119
rect 279 79 953 85
rect 981 119 1049 125
rect 981 85 1003 119
rect 1037 116 1049 119
rect 1441 119 1509 125
rect 1441 116 1463 119
rect 1037 85 1463 116
rect 1497 85 1509 119
rect 981 79 1509 85
rect 0 17 3312 48
rect 0 -17 29 17
rect 63 -17 121 17
rect 155 -17 213 17
rect 247 -17 305 17
rect 339 -17 397 17
rect 431 -17 489 17
rect 523 -17 581 17
rect 615 -17 673 17
rect 707 -17 765 17
rect 799 -17 857 17
rect 891 -17 949 17
rect 983 -17 1041 17
rect 1075 -17 1133 17
rect 1167 -17 1225 17
rect 1259 -17 1317 17
rect 1351 -17 1409 17
rect 1443 -17 1501 17
rect 1535 -17 1593 17
rect 1627 -17 1685 17
rect 1719 -17 1777 17
rect 1811 -17 1869 17
rect 1903 -17 1961 17
rect 1995 -17 2053 17
rect 2087 -17 2145 17
rect 2179 -17 2237 17
rect 2271 -17 2329 17
rect 2363 -17 2421 17
rect 2455 -17 2513 17
rect 2547 -17 2605 17
rect 2639 -17 2697 17
rect 2731 -17 2789 17
rect 2823 -17 2881 17
rect 2915 -17 2973 17
rect 3007 -17 3065 17
rect 3099 -17 3157 17
rect 3191 -17 3249 17
rect 3283 -17 3312 17
rect 0 -48 3312 -17
<< labels >>
rlabel comment s 0 0 0 0 4 sedfxbp_1
flabel metal1 s 29 527 63 561 0 FreeSans 200 0 0 0 VPWR
port 9 nsew power bidirectional
flabel metal1 s 29 -17 63 17 0 FreeSans 200 0 0 0 VGND
port 6 nsew ground bidirectional
flabel locali s 29 221 63 255 0 FreeSans 400 0 0 0 CLK
port 1 nsew signal input
flabel locali s 2603 221 2637 255 0 FreeSans 400 0 0 0 Q_N
port 11 nsew signal output
flabel locali s 1316 221 1350 255 0 FreeSans 400 0 0 0 SCD
port 4 nsew signal input
flabel locali s 465 237 505 274 0 FreeSans 400 0 0 0 DE
port 3 nsew signal input
flabel locali s 394 221 428 255 0 FreeSans 400 0 0 0 D
port 2 nsew signal input
flabel locali s 3071 221 3105 255 0 FreeSans 400 0 0 0 Q
port 10 nsew signal output
flabel locali s 1134 286 1168 320 0 FreeSans 400 0 0 0 SCE
port 5 nsew signal input
flabel nwell s 29 527 63 561 0 FreeSans 200 0 0 0 VPB
port 8 nsew power bidirectional
flabel nwell s 46 544 46 544 0 FreeSans 200 0 0 0 VPB
port 8 nsew
flabel pwell s 29 -17 63 17 0 FreeSans 400 0 0 0 VNB
port 7 nsew ground bidirectional
flabel pwell s 29 -17 63 17 0 FreeSans 200 0 0 0 VNB
port 7 nsew
flabel pwell s 46 0 46 0 0 FreeSans 200 0 0 0 VNB
port 7 nsew
rlabel locali s 465 153 553 237 1 DE
port 3 nsew signal input
<< properties >>
string LEFsite unithd
string LEFclass CORE
string FIXED_BBOX 0 0 3312 544
string GDS_FILE $PDKPATH/libs.ref/sky130_fd_sc_hdll/gds/sky130_fd_sc_hdll.gds
string LEFsymmetry X Y R90
string GDS_END 2929796
string GDS_START 2905914
string LEFproperties maskLayoutSubType "abstract" prCellType "standard" originalViewName "layout"
<< end >>
